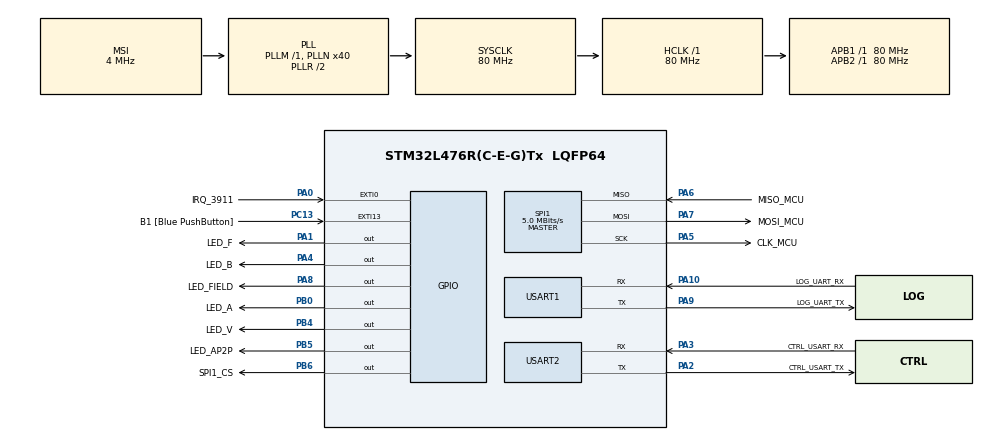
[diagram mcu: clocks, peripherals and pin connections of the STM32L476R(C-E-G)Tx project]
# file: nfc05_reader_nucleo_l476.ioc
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Dma.Request0=USART2_RX
Dma.Request1=USART2_TX
Dma.Request2=USART1_RX
Dma.Request3=USART1_TX
Dma.USART1_RX.2.Direction=DMA_PERIPH_TO_MEMORY
Dma.USART1_RX.2.Instance=DMA1_Channel5
Dma.USART1_RX.2.MemDataAlignment=DMA_MDATAALIGN_BYTE
Dma.USART1_RX.2.MemInc=DMA_MINC_ENABLE
Dma.USART1_RX.2.Mode=DMA_NORMAL
Dma.USART1_RX.2.PeriphDataAlignment=DMA_PDATAALIGN_BYTE
Dma.USART1_RX.2.PeriphInc=DMA_PINC_DISABLE
Dma.USART1_RX.2.Priority=DMA_PRIORITY_LOW
Dma.USART1_TX.3.Direction=DMA_MEMORY_TO_PERIPH
Dma.USART1_TX.3.Instance=DMA1_Channel4
Dma.USART1_TX.3.MemDataAlignment=DMA_MDATAALIGN_BYTE
Dma.USART1_TX.3.MemInc=DMA_MINC_ENABLE
Dma.USART1_TX.3.Mode=DMA_NORMAL
Dma.USART1_TX.3.PeriphDataAlignment=DMA_PDATAALIGN_BYTE
Dma.USART1_TX.3.PeriphInc=DMA_PINC_DISABLE
Dma.USART1_TX.3.Priority=DMA_PRIORITY_LOW
Dma.USART2_RX.0.Direction=DMA_PERIPH_TO_MEMORY
Dma.USART2_RX.0.Instance=DMA1_Channel6
Dma.USART2_RX.0.MemDataAlignment=DMA_MDATAALIGN_BYTE
Dma.USART2_RX.0.MemInc=DMA_MINC_ENABLE
Dma.USART2_RX.0.Mode=DMA_NORMAL
Dma.USART2_RX.0.PeriphDataAlignment=DMA_PDATAALIGN_BYTE
Dma.USART2_RX.0.PeriphInc=DMA_PINC_DISABLE
Dma.USART2_RX.0.Priority=DMA_PRIORITY_LOW
Dma.USART2_TX.1.Direction=DMA_MEMORY_TO_PERIPH
Dma.USART2_TX.1.Instance=DMA1_Channel7
Dma.USART2_TX.1.MemDataAlignment=DMA_MDATAALIGN_BYTE
Dma.USART2_TX.1.MemInc=DMA_MINC_ENABLE
Dma.USART2_TX.1.Mode=DMA_NORMAL
Dma.USART2_TX.1.PeriphDataAlignment=DMA_PDATAALIGN_BYTE
Dma.USART2_TX.1.PeriphInc=DMA_PINC_DISABLE
Dma.USART2_TX.1.Priority=DMA_PRIORITY_LOW
Mcu.Family=STM32L4
Mcu.Name=STM32L476R(C-E-G)Tx
Mcu.Package=LQFP64
NVIC.DMA1_Channel4_IRQn=true\:0\:0\:false\:false\:true\:false
NVIC.DMA1_Channel5_IRQn=true\:0\:0\:false\:false\:true\:false
NVIC.DMA1_Channel6_IRQn=true\:0\:0\:false\:false\:true\:false
NVIC.DMA1_Channel7_IRQn=true\:0\:0\:false\:false\:true\:false
NVIC.EXTI0_IRQn=true\:0\:0\:false\:false\:true\:true
NVIC.PriorityGroup=NVIC_PRIORITYGROUP_4
NVIC.USART1_IRQn=true\:0\:0\:false\:false\:true\:true
NVIC.USART2_IRQn=true\:0\:0\:false\:false\:true\:true
PA0.GPIO_Label=IRQ_3911
PA0.Signal=GPXTI0
PA1.GPIO_Label=LED_F
PA1.Signal=GPIO_Output
PA10.GPIO_Label=LOG_UART_RX
PA10.Mode=Asynchronous
PA10.Signal=USART1_RX
PA13\ (JTMS-SWDIO).GPIO_Label=TMS
PA13\ (JTMS-SWDIO).Mode=Serial_Wire
PA13\ (JTMS-SWDIO).Signal=SYS_JTMS-SWDIO
PA14\ (JTCK-SWCLK).GPIO_Label=TCK
PA14\ (JTCK-SWCLK).Mode=Serial_Wire
PA14\ (JTCK-SWCLK).Signal=SYS_JTCK-SWCLK
PA2.GPIO_Label=CTRL_USART_TX
PA2.GPIO_Mode=GPIO_MODE_AF_PP
PA2.GPIO_PuPd=GPIO_NOPULL
PA2.GPIO_Speed=GPIO_SPEED_FREQ_VERY_HIGH
PA2.Mode=Asynchronous
PA2.Signal=USART2_TX
PA3.GPIO_Label=CTRL_USART_RX
PA3.GPIO_Mode=GPIO_MODE_AF_PP
PA3.GPIO_PuPd=GPIO_NOPULL
PA3.GPIO_Speed=GPIO_SPEED_FREQ_VERY_HIGH
PA3.Mode=Asynchronous
PA3.Signal=USART2_RX
PA4.GPIO_Label=LED_B
PA4.Signal=GPIO_Output
PA5.GPIO_Label=CLK_MCU
PA5.Mode=Full_Duplex_Master
PA5.Signal=SPI1_SCK
PA6.GPIO_Label=MISO_MCU
PA6.Mode=Full_Duplex_Master
PA6.Signal=SPI1_MISO
PA7.GPIO_Label=MOSI_MCU
PA7.Mode=Full_Duplex_Master
PA7.Signal=SPI1_MOSI
PA8.GPIO_Label=LED_FIELD
PA8.Signal=GPIO_Output
PA9.GPIO_Label=LOG_UART_TX
PA9.Mode=Asynchronous
PA9.Signal=USART1_TX
PB0.GPIO_Label=LED_A
PB0.Signal=GPIO_Output
PB3\ (JTDO-TRACESWO).GPIO_Label=SWO
PB3\ (JTDO-TRACESWO).Signal=SYS_JTDO-SWO
PB4\ (NJTRST).GPIO_Label=LED_V
PB4\ (NJTRST).Signal=GPIO_Output
PB5.GPIO_Label=LED_AP2P
PB5.Signal=GPIO_Output
PB6.GPIO_Label=SPI1_CS
PB6.Signal=GPIO_Output
PC13.GPIO_Label=B1 [Blue PushButton]
PC13.GPIO_ModeDefaultEXTI=GPIO_MODE_IT_FALLING
PC13.GPIO_PuPd=GPIO_NOPULL
PC13.Signal=GPXTI13
PC14-OSC32_IN\ (PC14).Mode=LSE-External-Oscillator
PC14-OSC32_IN\ (PC14).Signal=RCC_OSC32_IN
PC15-OSC32_OUT\ (PC15).Mode=LSE-External-Oscillator
PC15-OSC32_OUT\ (PC15).Signal=RCC_OSC32_OUT
PH0-OSC_IN\ (PH0).Signal=RCC_OSC_IN
PH1-OSC_OUT\ (PH1).Signal=RCC_OSC_OUT
ProjectManager.HeapSize=0x200
ProjectManager.StackSize=0x400
ProjectManager.TargetToolchain=Makefile
RCC.ADCFreq_Value=48000000
RCC.AHBFreq_Value=80000000
RCC.APB1Freq_Value=80000000
RCC.APB1TimFreq_Value=80000000
RCC.APB2Freq_Value=80000000
RCC.APB2TimFreq_Value=80000000
RCC.CortexFreq_Value=80000000
RCC.HCLKFreq_Value=80000000
RCC.HSE_VALUE=8000000
RCC.HSI_VALUE=16000000
RCC.MSI_VALUE=4000000
RCC.PLLN=40
RCC.PLLSAI1N=24
RCC.PREFETCH_ENABLE=1
RCC.SYSCLKFreq_VALUE=80000000
RCC.SYSCLKSource=RCC_SYSCLKSOURCE_PLLCLK
RCC.USBFreq_Value=48000000
RCC.VCOOutputFreq_Value=160000000
SPI1.BaudRatePrescaler=SPI_BAUDRATEPRESCALER_16
SPI1.CLKPhase=SPI_PHASE_2EDGE
SPI1.CRCCalculation=SPI_CRCCALCULATION_DISABLE
SPI1.CalculateBaudRate=5.0 MBits/s
SPI1.DataSize=SPI_DATASIZE_8BIT
SPI1.Direction=SPI_DIRECTION_2LINES
SPI1.Mode=SPI_MODE_MASTER
SPI1.VirtualType=VM_MASTER
USART1.VirtualMode-Asynchronous=VM_ASYNC
USART1.WordLength=WORDLENGTH_8B
USART2.VirtualMode-Asynchronous=VM_ASYNC
USART2.WordLength=WORDLENGTH_8B
board=NUCLEO-L476RG

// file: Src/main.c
/**
  ******************************************************************************
  * @file           : main.c
  * @brief          : Main program body
  ******************************************************************************
  ** This notice applies to any and all portions of this file
  * that are not between comment pairs USER CODE BEGIN and
  * USER CODE END. Other portions of this file, whether
  * inserted by the user or by software development tools
  * are owned by their respective copyright owners.
  *
  * COPYRIGHT(c) 2018 STMicroelectronics
  *
  * Redistribution and use in source and binary forms, with or without modification,
  * are permitted provided that the following conditions are met:
  *   1. Redistributions of source code must retain the above copyright notice,
  *      this list of conditions and the following disclaimer.
  *   2. Redistributions in binary form must reproduce the above copyright notice,
  *      this list of conditions and the following disclaimer in the documentation
  *      and/or other materials provided with the distribution.
  *   3. Neither the name of STMicroelectronics nor the names of its contributors
  *      may be used to endorse or promote products derived from this software
  *      without specific prior written permission.
  *
  * THIS SOFTWARE IS PROVIDED BY THE COPYRIGHT HOLDERS AND CONTRIBUTORS "AS IS"
  * AND ANY EXPRESS OR IMPLIED WARRANTIES, INCLUDING, BUT NOT LIMITED TO, THE
  * IMPLIED WARRANTIES OF MERCHANTABILITY AND FITNESS FOR A PARTICULAR PURPOSE ARE
  * DISCLAIMED. IN NO EVENT SHALL THE COPYRIGHT HOLDER OR CONTRIBUTORS BE LIABLE
  * FOR ANY DIRECT, INDIRECT, INCIDENTAL, SPECIAL, EXEMPLARY, OR CONSEQUENTIAL
  * DAMAGES (INCLUDING, BUT NOT LIMITED TO, PROCUREMENT OF SUBSTITUTE GOODS OR
  * SERVICES; LOSS OF USE, DATA, OR PROFITS; OR BUSINESS INTERRUPTION) HOWEVER
  * CAUSED AND ON ANY THEORY OF LIABILITY, WHETHER IN CONTRACT, STRICT LIABILITY,
  * OR TORT (INCLUDING NEGLIGENCE OR OTHERWISE) ARISING IN ANY WAY OUT OF THE USE
  * OF THIS SOFTWARE, EVEN IF ADVISED OF THE POSSIBILITY OF SUCH DAMAGE.
  *
  ******************************************************************************
  */
#include "main.h"
#include "stm32l4xx_hal.h"

/* USER CODE BEGIN Includes */
#include "platform.h"
#include "logger.h"
#include "spi.h"
#include "uart_driver.h"
#include "bootloader.h"

#include "stream_dispatcher.h"
#include "dispatcher.h"
#include "rfal_analogConfig.h"
#include "rfal_rf.h"
#include "rfal_analogConfig.h"

/* USER CODE END Includes */

SPI_HandleTypeDef hspi1;

UART_HandleTypeDef huart1;
UART_HandleTypeDef huart2;
DMA_HandleTypeDef hdma_usart1_rx;
DMA_HandleTypeDef hdma_usart1_tx;
DMA_HandleTypeDef hdma_usart2_rx;
DMA_HandleTypeDef hdma_usart2_tx;

/* USER CODE BEGIN PV */
/* Private variables ---------------------------------------------------------*/

/* USER CODE END PV */

void SystemClock_Config(void);
static void MX_GPIO_Init(void);
static void MX_DMA_Init(void);
static void MX_USART2_UART_Init(void);
static void MX_SPI1_Init(void);
static void MX_USART1_UART_Init(void);

/* USER CODE BEGIN PFP */
/* Private function prototypes -----------------------------------------------*/

/* USER CODE END PFP */

int main(void)
{
  /* USER CODE BEGIN 1 */
  bootloaderCheck4Enter();

  /* USER CODE END 1 */

  /* MCU Configuration----------------------------------------------------------*/

  /* Reset of all peripherals, Initializes the Flash interface and the Systick. */
  HAL_Init();

  /* Configure the system clock */
  SystemClock_Config();

  /* Initialize all configured peripherals */
  MX_GPIO_Init();
  MX_DMA_Init();
  MX_USART2_UART_Init();
  MX_SPI1_Init();
  MX_USART1_UART_Init();
  /* USER CODE BEGIN 2 */
  /* SPI Connection to ST25R3911 */
  spiInit(&hspi1);
  uartSetHandler(CTRL_UART, &huart2);
  uartReset(CTRL_UART);
  /* Initialize log module */
  logUsartInit(&huart1);

  platformLog("Welcome to DISCO-STM32L4x6\r\n");
  SET_BIT(huart2.Instance->CR1, USART_CR1_IDLEIE); //Enable idle irq

  /* Initalize RFAL */
  rfalAnalogConfigInitialize();
  if( rfalInitialize() != ERR_NONE )
  {
    /*
    * in case the rfal initalization failed signal it by flashing all LED
    * and stoping all operations
    */
    platformLog("RFAL initialization failed..\r\n");
    while(1)
    {
      platformLedToogle(PLATFORM_LED_FIELD_PORT, PLATFORM_LED_FIELD_PIN);
      platformLedToogle(PLATFORM_LED_A_PORT, PLATFORM_LED_A_PIN);
      platformLedToogle(PLATFORM_LED_B_PORT, PLATFORM_LED_B_PIN);
      platformLedToogle(PLATFORM_LED_F_PORT, PLATFORM_LED_F_PIN);
      platformLedToogle(PLATFORM_LED_V_PORT, PLATFORM_LED_V_PIN);
      platformLedToogle(PLATFORM_LED_AP2P_PORT, PLATFORM_LED_AP2P_PIN);
      platformDelay(100);
    }
  }
  else
  {
    platformLog("RFAL initialization succeeded..\r\n");
    for (int i = 0; i < 6; i++)
    {
      platformLedToogle(PLATFORM_LED_FIELD_PORT, PLATFORM_LED_FIELD_PIN);
      platformLedToogle(PLATFORM_LED_A_PORT, PLATFORM_LED_A_PIN);
      platformLedToogle(PLATFORM_LED_B_PORT, PLATFORM_LED_B_PIN);
      platformLedToogle(PLATFORM_LED_F_PORT, PLATFORM_LED_F_PIN);
      platformLedToogle(PLATFORM_LED_V_PORT, PLATFORM_LED_V_PIN);
      platformLedToogle(PLATFORM_LED_AP2P_PORT, PLATFORM_LED_AP2P_PIN);
      platformDelay(200);
    }

    platformLedOff(PLATFORM_LED_A_PORT, PLATFORM_LED_A_PIN);
    platformLedOff(PLATFORM_LED_B_PORT, PLATFORM_LED_B_PIN);
    platformLedOff(PLATFORM_LED_F_PORT, PLATFORM_LED_F_PIN);
    platformLedOff(PLATFORM_LED_V_PORT, PLATFORM_LED_V_PIN);
    platformLedOff(PLATFORM_LED_AP2P_PORT, PLATFORM_LED_AP2P_PIN);
    platformLedOff(PLATFORM_LED_FIELD_PORT, PLATFORM_LED_FIELD_PIN);
  }

  /* For production programming: Turn ON field led, diabled by
   * rfalSetAnalogConfig when accessing op control */
  platformLedOn(PLATFORM_LED_FIELD_PORT, PLATFORM_LED_FIELD_PIN);

  /* Initalize SW components */
  StreamDispatcherInit();

  /* USER CODE END 2 */

  /* Infinite loop */
  while (1)
  {

  /* USER CODE BEGIN 3 */
      ProcessIO();
      dispatcherInterruptHandler();
      rfalWorker();

  }
  /* USER CODE END 3 */

}

void SystemClock_Config(void)
{

  RCC_OscInitTypeDef RCC_OscInitStruct;
  RCC_ClkInitTypeDef RCC_ClkInitStruct;
  RCC_PeriphCLKInitTypeDef PeriphClkInit;

    /**Configure LSE Drive Capability
    */
  HAL_PWR_EnableBkUpAccess();

  __HAL_RCC_LSEDRIVE_CONFIG(RCC_LSEDRIVE_LOW);

    /**Initializes the CPU, AHB and APB busses clocks
    */
  RCC_OscInitStruct.OscillatorType = RCC_OSCILLATORTYPE_LSE|RCC_OSCILLATORTYPE_MSI;
  RCC_OscInitStruct.LSEState = RCC_LSE_ON;
  RCC_OscInitStruct.MSIState = RCC_MSI_ON;
  RCC_OscInitStruct.MSICalibrationValue = 0;
  RCC_OscInitStruct.MSIClockRange = RCC_MSIRANGE_6;
  RCC_OscInitStruct.PLL.PLLState = RCC_PLL_ON;
  RCC_OscInitStruct.PLL.PLLSource = RCC_PLLSOURCE_MSI;
  RCC_OscInitStruct.PLL.PLLM = 1;
  RCC_OscInitStruct.PLL.PLLN = 40;
  RCC_OscInitStruct.PLL.PLLP = RCC_PLLP_DIV7;
  RCC_OscInitStruct.PLL.PLLQ = RCC_PLLQ_DIV2;
  RCC_OscInitStruct.PLL.PLLR = RCC_PLLR_DIV2;
  if (HAL_RCC_OscConfig(&RCC_OscInitStruct) != HAL_OK)
  {
    _Error_Handler(__FILE__, __LINE__);
  }

    /**Initializes the CPU, AHB and APB busses clocks
    */
  RCC_ClkInitStruct.ClockType = RCC_CLOCKTYPE_HCLK|RCC_CLOCKTYPE_SYSCLK
                              |RCC_CLOCKTYPE_PCLK1|RCC_CLOCKTYPE_PCLK2;
  RCC_ClkInitStruct.SYSCLKSource = RCC_SYSCLKSOURCE_PLLCLK;
  RCC_ClkInitStruct.AHBCLKDivider = RCC_SYSCLK_DIV1;
  RCC_ClkInitStruct.APB1CLKDivider = RCC_HCLK_DIV1;
  RCC_ClkInitStruct.APB2CLKDivider = RCC_HCLK_DIV1;

  if (HAL_RCC_ClockConfig(&RCC_ClkInitStruct, FLASH_LATENCY_4) != HAL_OK)
  {
    _Error_Handler(__FILE__, __LINE__);
  }

  PeriphClkInit.PeriphClockSelection = RCC_PERIPHCLK_USART1|RCC_PERIPHCLK_USART2;
  PeriphClkInit.Usart1ClockSelection = RCC_USART1CLKSOURCE_PCLK2;
  PeriphClkInit.Usart2ClockSelection = RCC_USART2CLKSOURCE_PCLK1;
  if (HAL_RCCEx_PeriphCLKConfig(&PeriphClkInit) != HAL_OK)
  {
    _Error_Handler(__FILE__, __LINE__);
  }

    /**Configure the main internal regulator output voltage
    */
  if (HAL_PWREx_ControlVoltageScaling(PWR_REGULATOR_VOLTAGE_SCALE1) != HAL_OK)
  {
    _Error_Handler(__FILE__, __LINE__);
  }

    /**Configure the Systick interrupt time
    */
  HAL_SYSTICK_Config(HAL_RCC_GetHCLKFreq()/1000);

    /**Configure the Systick
    */
  HAL_SYSTICK_CLKSourceConfig(SYSTICK_CLKSOURCE_HCLK);

    /**Enable MSI Auto calibration
    */
  HAL_RCCEx_EnableMSIPLLMode();

  /* SysTick_IRQn interrupt configuration */
  HAL_NVIC_SetPriority(SysTick_IRQn, 0, 0);
}

/* SPI1 init function */
static void MX_SPI1_Init(void)
{

  /* SPI1 parameter configuration*/
  hspi1.Instance = SPI1;
  hspi1.Init.Mode = SPI_MODE_MASTER;
  hspi1.Init.Direction = SPI_DIRECTION_2LINES;
  hspi1.Init.DataSize = SPI_DATASIZE_8BIT;
  hspi1.Init.CLKPolarity = SPI_POLARITY_LOW;
  hspi1.Init.CLKPhase = SPI_PHASE_2EDGE;
  hspi1.Init.NSS = SPI_NSS_SOFT;
  hspi1.Init.BaudRatePrescaler = SPI_BAUDRATEPRESCALER_16;
  hspi1.Init.FirstBit = SPI_FIRSTBIT_MSB;
  hspi1.Init.TIMode = SPI_TIMODE_DISABLE;
  hspi1.Init.CRCCalculation = SPI_CRCCALCULATION_DISABLE;
  hspi1.Init.CRCPolynomial = 7;
  hspi1.Init.CRCLength = SPI_CRC_LENGTH_DATASIZE;
  hspi1.Init.NSSPMode = SPI_NSS_PULSE_DISABLE;
  if (HAL_SPI_Init(&hspi1) != HAL_OK)
  {
    _Error_Handler(__FILE__, __LINE__);
  }

}

/* USART1 init function */
static void MX_USART1_UART_Init(void)
{

  huart1.Instance = USART1;
  huart1.Init.BaudRate = 115200;
  huart1.Init.WordLength = UART_WORDLENGTH_8B;
  huart1.Init.StopBits = UART_STOPBITS_1;
  huart1.Init.Parity = UART_PARITY_NONE;
  huart1.Init.Mode = UART_MODE_TX_RX;
  huart1.Init.HwFlowCtl = UART_HWCONTROL_NONE;
  huart1.Init.OverSampling = UART_OVERSAMPLING_16;
  huart1.Init.OneBitSampling = UART_ONE_BIT_SAMPLE_DISABLE;
  huart1.AdvancedInit.AdvFeatureInit = UART_ADVFEATURE_NO_INIT;
  if (HAL_UART_Init(&huart1) != HAL_OK)
  {
    _Error_Handler(__FILE__, __LINE__);
  }

}

/* USART2 init function */
static void MX_USART2_UART_Init(void)
{

  huart2.Instance = USART2;
  huart2.Init.BaudRate = 115200;
  huart2.Init.WordLength = UART_WORDLENGTH_8B;
  huart2.Init.StopBits = UART_STOPBITS_1;
  huart2.Init.Parity = UART_PARITY_NONE;
  huart2.Init.Mode = UART_MODE_TX_RX;
  huart2.Init.HwFlowCtl = UART_HWCONTROL_NONE;
  huart2.Init.OverSampling = UART_OVERSAMPLING_16;
  huart2.Init.OneBitSampling = UART_ONE_BIT_SAMPLE_DISABLE;
  huart2.AdvancedInit.AdvFeatureInit = UART_ADVFEATURE_NO_INIT;
  if (HAL_UART_Init(&huart2) != HAL_OK)
  {
    _Error_Handler(__FILE__, __LINE__);
  }

}

static void MX_DMA_Init(void)
{
  /* DMA controller clock enable */
  __HAL_RCC_DMA1_CLK_ENABLE();

  /* DMA interrupt init */
  /* DMA1_Channel4_IRQn interrupt configuration */
  HAL_NVIC_SetPriority(DMA1_Channel4_IRQn, 0, 0);
  HAL_NVIC_EnableIRQ(DMA1_Channel4_IRQn);
  /* DMA1_Channel5_IRQn interrupt configuration */
  HAL_NVIC_SetPriority(DMA1_Channel5_IRQn, 0, 0);
  HAL_NVIC_EnableIRQ(DMA1_Channel5_IRQn);
  /* DMA1_Channel6_IRQn interrupt configuration */
  HAL_NVIC_SetPriority(DMA1_Channel6_IRQn, 0, 0);
  HAL_NVIC_EnableIRQ(DMA1_Channel6_IRQn);
  /* DMA1_Channel7_IRQn interrupt configuration */
  HAL_NVIC_SetPriority(DMA1_Channel7_IRQn, 0, 0);
  HAL_NVIC_EnableIRQ(DMA1_Channel7_IRQn);

}

/** Configure pins as
        * Analog
        * Input
        * Output
        * EVENT_OUT
        * EXTI
*/
static void MX_GPIO_Init(void)
{

  GPIO_InitTypeDef GPIO_InitStruct;

  /* GPIO Ports Clock Enable */
  __HAL_RCC_GPIOC_CLK_ENABLE();
  __HAL_RCC_GPIOH_CLK_ENABLE();
  __HAL_RCC_GPIOA_CLK_ENABLE();
  __HAL_RCC_GPIOB_CLK_ENABLE();

  /*Configure GPIO pin Output Level */
  HAL_GPIO_WritePin(GPIOA, LED_F_Pin|LED_B_Pin|LED_FIELD_Pin, GPIO_PIN_RESET);

  /*Configure GPIO pin Output Level */
  HAL_GPIO_WritePin(GPIOB, LED_A_Pin|LED_V_Pin|LED_AP2P_Pin|SPI1_CS_Pin, GPIO_PIN_RESET);

  /*Configure GPIO pin : B1_Pin */
  GPIO_InitStruct.Pin = B1_Pin;
  GPIO_InitStruct.Mode = GPIO_MODE_IT_FALLING;
  GPIO_InitStruct.Pull = GPIO_NOPULL;
  HAL_GPIO_Init(B1_GPIO_Port, &GPIO_InitStruct);

  /*Configure GPIO pin : IRQ_3911_Pin */
  GPIO_InitStruct.Pin = IRQ_3911_Pin;
  GPIO_InitStruct.Mode = GPIO_MODE_IT_RISING;
  GPIO_InitStruct.Pull = GPIO_NOPULL;
  HAL_GPIO_Init(IRQ_3911_GPIO_Port, &GPIO_InitStruct);

  /*Configure GPIO pins : LED_F_Pin LED_B_Pin LED_FIELD_Pin */
  GPIO_InitStruct.Pin = LED_F_Pin|LED_B_Pin|LED_FIELD_Pin;
  GPIO_InitStruct.Mode = GPIO_MODE_OUTPUT_PP;
  GPIO_InitStruct.Pull = GPIO_NOPULL;
  GPIO_InitStruct.Speed = GPIO_SPEED_FREQ_LOW;
  HAL_GPIO_Init(GPIOA, &GPIO_InitStruct);

  /*Configure GPIO pins : LED_A_Pin LED_V_Pin LED_AP2P_Pin SPI1_CS_Pin */
  GPIO_InitStruct.Pin = LED_A_Pin|LED_V_Pin|LED_AP2P_Pin|SPI1_CS_Pin;
  GPIO_InitStruct.Mode = GPIO_MODE_OUTPUT_PP;
  GPIO_InitStruct.Pull = GPIO_NOPULL;
  GPIO_InitStruct.Speed = GPIO_SPEED_FREQ_LOW;
  HAL_GPIO_Init(GPIOB, &GPIO_InitStruct);

  /* EXTI interrupt init*/
  HAL_NVIC_SetPriority(EXTI0_IRQn, 0, 0);
  HAL_NVIC_EnableIRQ(EXTI0_IRQn);

}

void _Error_Handler(char *file, int line)
{
  while(1)
  {
  }
}

/************************ (C) COPYRIGHT STMicroelectronics *****END OF FILE****/
